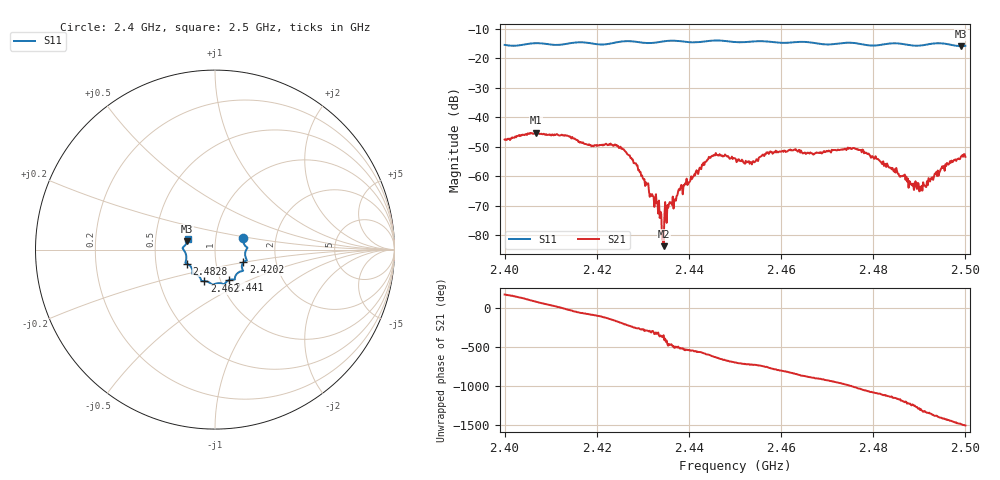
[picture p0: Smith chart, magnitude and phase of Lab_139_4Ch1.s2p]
# Hz S RI R 50
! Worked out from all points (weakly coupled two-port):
!   601 points, 2.4 GHz to 2.5 GHz, reference 50 ohm
!   highest |S21| = -45.20 dB at 2.4068 GHz (marker M1); lowest = -83.7 dB at 2.4345 GHz (marker M2)
!   lowest |S11| = -15.8 dB at 2.499 GHz (marker M3), VSWR 1.38, Z = 36.5 + j3.48 ohm
!   |S11| at or under -10 dB: start of sweep to end of sweep
!   S12 and S22 are empty: the file has one direction only
!   S11 on the Smith chart (normalised r, x): 2.4 GHz: 1.36, +0.18; 2.4202 GHz: 1.36, -0.20; 2.441 GHz: 1.10, -0.39; 2.462 GHz: 0.84, -0.30; 2.4828 GHz: 0.72, -0.12; 2.5 GHz: 0.73, +0.09
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2.4e9  0.1572 0.063  -0.0041 0.000957  0 0  0 0
2.406833e9  0.1809 0.0106  0.00153 0.00528  0 0  0 0
2.416667e9  0.1778 -0.0599  0.00127 -0.00353  0 0  0 0
2.420167e9  0.1584 -0.0707  -0.000863 -0.00327  0 0  0 0
2.426e9  0.1565 -0.1169  -0.00223 0.00162  0 0  0 0
2.429e9  0.1457 -0.1203  -0.000126 0.00127  0 0  0 0
2.433333e9  0.1124 -0.1508  0.000177 0.000153  0 0  0 0
2.434167e9  0.111 -0.1575  8.12e-05 -2.33e-05  0 0  0 0
2.4345e9  0.1108 -0.1597  6.52e-05 7.03e-06  0 0  0 0
2.436e9  0.1104 -0.1663  -0.000155 -0.000328  0 0  0 0
2.441e9  0.0786 -0.1696  -0.000969 0.000244  0 0  0 0
2.445333e9  0.0525 -0.1936  -0.000121 0.0023  0 0  0 0
2.45e9  0.0286 -0.1871  0.00194 0.000558  0 0  0 0
2.453667e9  -0.00493 -0.1929  0.00156 -0.000348  0 0  0 0
2.462e9  -0.0601 -0.1757  -0.00106 -0.00265  0 0  0 0
2.466667e9  -0.0777 -0.1683  -0.00244 -0.000136  0 0  0 0
2.476e9  -0.1259 -0.131  0.00148 0.00257  0 0  0 0
2.482833e9  -0.1578 -0.0775  0.00102 -0.00102  0 0  0 0
2.483333e9  -0.1609 -0.0761  0.000834 -0.00117  0 0  0 0
2.4905e9  -0.1651 -0.0171  -0.00038 0.000579  0 0  0 0
2.499e9  -0.1545 0.0464  0.00134 -0.00167  0 0  0 0
2.5e9  -0.1515 0.061  0.000754 -0.002  0 0  0 0
